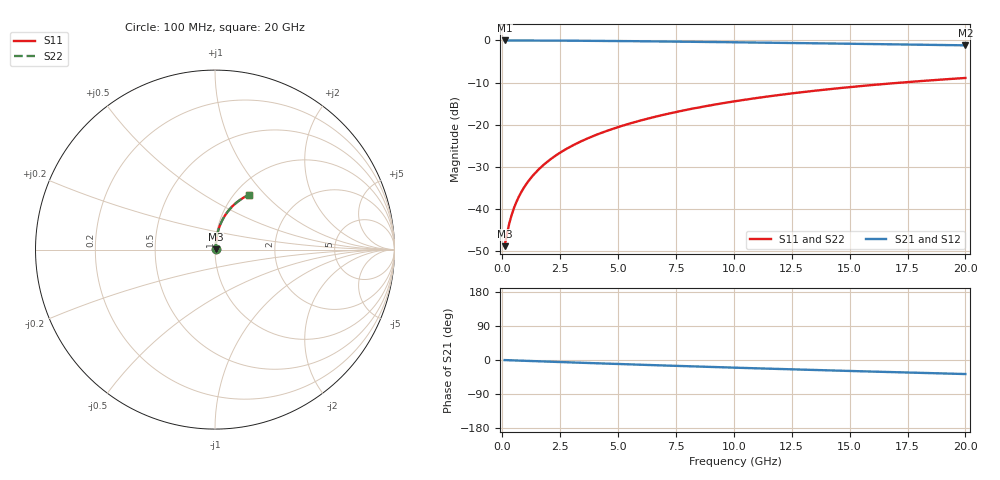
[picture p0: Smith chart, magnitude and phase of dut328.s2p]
! Touchstone file exported from HFSS 2024.1.0
!  File:  C:/UserFiles/LocalFiles/RDL_TSV_Batchsim/temp_RDL_top_328_1779607329.aedt
!  Generated:  03:24:13 PM May 24, 2026
!  Design:  RDL_top
!  Project:  temp_RDL_top_328_1779607329
!  Setup:  Setup1
!  Solution:  Sweep
! Variables:
!  dtsv = 10.80580581um
!  hbump = 3um
!  htsv = 77.25um
!  ldown = 100um
!  lrdl = 528.51um
!  p = 40
!  p1 = 42.19um
!  rhole = 1um
!  t = 450um
!  tdown = 3.915915916um
!  trdl = 3.8um
!  wdown = 15.38538539um
!  wrdl = 16.97um
# GHz S MA R 50.000000
! Terminal data exported
! Port[1] = Box2_T1
! Port[2] = Box2_T2
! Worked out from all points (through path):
!   200 points, 100 MHz to 20 GHz, reference 50 ohm
!   highest |S21| = -0.03 dB at 100 MHz (marker M1); lowest = -1.2 dB at 20 GHz (marker M2)
!   group delay of S21, straight-line fit = 5.12 ps
!   lowest |S11| = -48.8 dB at 100 MHz (marker M3), VSWR 1.01, Z = 50.3 + j0.203 ohm
!   |S11| at or under -10 dB: start of sweep to 17.24 GHz
!   |S22| runs from -48.8 to -8.9 dB; largest |S21 - S12| = 2.4e-15
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0.1  0.00365 33.6  0.997 -0.2  0.997 -0.2  0.00365 33.6
! Gamma 0 0 0 0
! Port Impedance 50 0 50 0
0.2  0.005085 51.7  0.9968 -0.4  0.9968 -0.4  0.005085 51.7
0.3  0.006759 60.9  0.9967 -0.7  0.9967 -0.7  0.00676 60.9
0.4  0.008495 66.3  0.9965 -0.9  0.9965 -0.9  0.008496 66.2
0.5  0.01025 69.8  0.9964 -1.1  0.9964 -1.1  0.01025 69.8
0.6  0.01202 72.3  0.9962 -1.3  0.9962 -1.3  0.01202 72.3
0.8  0.01558 75.7  0.996 -1.7  0.996 -1.7  0.01559 75.7
1.1  0.021 78.6  0.9955 -2.4  0.9955 -2.4  0.021 78.6
1.3  0.02464 79.8  0.9952 -2.8  0.9952 -2.8  0.02464 79.8
1.6  0.03014 81.0  0.9946 -3.5  0.9946 -3.5  0.03014 80.9
2.1  0.03937 82.0  0.9933 -4.5  0.9933 -4.5  0.03936 81.9
2.7  0.05052 82.4  0.9915 -5.8  0.9915 -5.8  0.05051 82.4
3.5  0.0655 82.3  0.9885 -7.5  0.9885 -7.5  0.06548 82.3
4.2  0.07869 81.9  0.9853 -8.9  0.9853 -8.9  0.07867 81.9
5  0.09386 81.2  0.9813 -10.6  0.9813 -10.6  0.09382 81.2
5.9  0.111 80.3  0.9762 -12.4  0.9762 -12.4  0.1109 80.2
6.8  0.1282 79.1  0.9707 -14.1  0.9707 -14.1  0.1281 79.1
8.4  0.1588 76.9  0.9602 -17.2  0.9602 -17.2  0.1586 76.8
10.1  0.191 74.3  0.9483 -20.4  0.9483 -20.4  0.1908 74.2
13.4  0.2513 69.0  0.9238 -26.2  0.9238 -26.2  0.251 68.9
16.7  0.3075 63.5  0.8985 -31.8  0.8985 -31.8  0.3071 63.5
20  0.3584 58.3  0.8728 -37.0  0.8728 -37.0  0.3579 58.2
